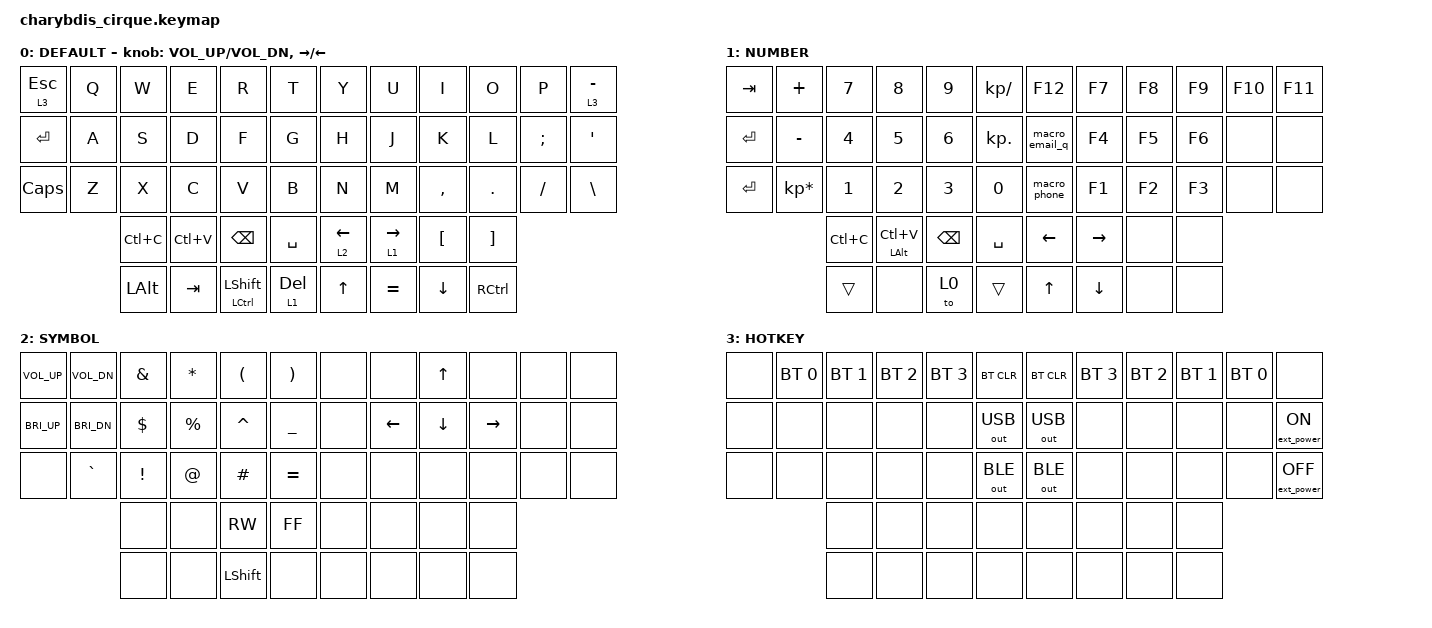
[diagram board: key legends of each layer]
#include <behaviors.dtsi>
#include <dt-bindings/zmk/mouse.h>
#include <dt-bindings/zmk/keys.h>
#include <dt-bindings/zmk/bt.h>
#include <dt-bindings/zmk/outputs.h>
#include <dt-bindings/zmk/ext_power.h>


// mouse move settings
#define MMV_U MOVE_VERT(-650)
#define MMV_D MOVE_VERT(650)
#define MMV_L MOVE_HOR(-650)
#define MMV_R MOVE_HOR(650)

&mmv {    
        time-to-max-speed-ms = <500>;
        acceleration-exponent=<1>;
};

// mouse wheel settings
#define MWH_U SCROLL_VERT(15)
#define MWH_D SCROLL_VERT(-15)
#define MWH_L SCROLL_HOR(-15)
#define MWH_R SCROLL_HOR(15)

&mwh {    
        time-to-max-speed-ms = <2000>;
        acceleration-exponent=<0>;
};

#define DEFAULT 0
#define NUMBER  1
#define SYMBOL  2
#define HOTKEY  3
#define MSE     4

#define AS(keycode) &as LS(keycode) keycode

/{

        behaviors {
        td0: tap_dance_0 {
            compatible = "zmk,behavior-tap-dance";
            label = "TAP_DANCE_0";
            #binding-cells = <0>;
            tapping-term-ms = <200>;
            bindings = <&kp ESC>, <&kp TAB>;
        };
    };  

         behaviors {
       as: auto_shift {
        compatible = "zmk,behavior-hold-tap";
        label = "AUTO_SHIFT";
        #binding-cells = <2>;
        tapping-term-ms = <200>;
        quick-tap-ms = <0>;
        flavor = "tap-preferred";
        bindings = <&kp>, <&kp>;
                };             
modcp: mod_copy {
        compatible = "zmk,behavior-mod-morph";
        label = "MOD_COPY";
        #binding-cells = <0>;
        bindings = <&as LS(C) C>, <&kp C>;
        mods = <(LGUI | RGUI)>;
};
        };


    macros {
        macro_phone: macro_phone {
            // 1351
            label = "MACRO_PHONE";
            compatible = "zmk,behavior-macro";
            #binding-cells = <0>;
            bindings
                = < &kp N1 &kp N3 &kp N5  &kp N1>
                ;
        };
        macro_email_q: macro_email_q {
            // 2894512440@qq.com
            label = "MACRO_EMAIL_QQ";
            compatible = "zmk,behavior-macro";
            #binding-cells = <0>;
            bindings 
                = < &kp N2 &kp N8 &kp N9 &kp N4 &kp N5 &kp  N1 &kp N2 &kp N4 &kp N4 &kp N0 
                    &kp AT &kp Q &kp Q &kp DOT  &kp C &kp O &kp M>
                ;
        };
        macro_email_g: macro_email_g {
            // 135115
            compatible = "zmk,behavior-macro";
            label = "MACRO_EMAIL_GMAIL";
            #binding-cells = <0>;
            bindings
                = < &kp N1 &kp N3 &kp N5  &kp N1 &kp N1 &kp N5 > ;
        };
       
    };
    
    
        
  




    keymap {
       compatible = "zmk,keymap";
       default_layer {
            label = "DEFAULT";
            bindings = <
&lt 3 ESC  &kp Q  &kp W         &kp E      &kp R            &kp T      &kp Y       &kp U        &kp I      &kp O      &kp P     &lt 3 MINUS
&kp ENTER  &kp A  &kp S         &kp D      &kp F            &kp G      &kp H       &kp J        &kp K      &kp L      &kp SEMI  &kp SQT
&kp CAPS   &kp Z  &kp X         &kp C      &kp V            &kp B      &kp N       &kp M        &kp COMMA  &kp DOT    &kp FSLH  &kp BSLH
                  &kp LC(C)     &kp LC(V)  &kp BSPC         &kp SPACE  &lt 2 LEFT  &lt 1 RIGHT  &kp LBKT   &kp RBKT
                  &kp LEFT_ALT  &kp TAB    &mt LCTRL LSHFT  &lt 1 DEL  &kp UP      &kp EQUAL    &kp DOWN   &kp RCTRL
            >;
sensor-bindings = <&inc_dec_kp C_VOL_UP C_VOL_DN &inc_dec_kp RIGHT LEFT>;
                trackball-bindings = <&tmv>;
        };  


          number_layer {
            label = "NUMBER";
            bindings = <
            
   &kp TAB    &kp PLUS         &kp N7     &kp N8          &kp N9    &kp KP_SLASH  &kp F12         &kp F7     &kp F8  &kp F9  &kp F10  &kp F11
&kp ENTER  &kp MINUS        &kp N4     &kp N5          &kp N6    &kp KP_DOT    &macro_email_q  &kp F4     &kp F5  &kp F6  &none    &none
&kp ENTER  &kp KP_MULTIPLY  &kp N1     &kp N2          &kp N3    &kp N0        &macro_phone    &kp F1     &kp F2  &kp F3  &none    &none
                            &kp LC(C)  &mt LALT LC(V)  &kp BSPC  &kp SPACE     &kp LEFT        &kp RIGHT  &none   &none
                            &trans     &none           &to 0     &trans        &kp UP          &kp DOWN   &none   &none
            >;
               trackball-bindings = <&tsl>;    
        };

        symbol_layer {
            label = "SYMBOL";
            bindings = <
&kp C_VOL_UP  &kp C_VOL_DN  &kp AMPS  &kp STAR   &kp LPAR   &kp RPAR   &none  &none     &kp UP    &none      &none  &none
&kp C_BRI_UP  &kp C_BRI_DN  &kp DLLR  &kp PRCNT  &kp CARET  &kp UNDER  &none  &kp LEFT  &kp DOWN  &kp RIGHT  &none  &none
&none         &kp GRAVE     &kp EXCL  &kp AT     &kp HASH   &kp EQUAL  &none  &none     &none     &none      &none  &none
                            &none     &none      &kp C_RW   &kp C_FF   &none  &none     &none     &none
                            &none     &none      &kp LSHFT  &none      &none  &none     &none     &none                                                                                 
         >;
                   trackball-bindings = <&tmv_fine>;
        };


        hotkey_layer {
            label = "HOTKEY";
            bindings = <
&none       &bt BT_SEL 0  &bt BT_SEL 1  &bt BT_SEL 2  &bt BT_SEL 3  &bt BT_CLR    &bt BT_CLR    &bt BT_SEL 3  &bt BT_SEL 2  &bt BT_SEL 1  &bt BT_SEL 0  &none
&none  &none         &none         &none         &none         &out OUT_USB  &out OUT_USB  &none         &none         &none         &none         &ext_power EP_ON
 &none       &none         &none         &none         &none         &out OUT_BLE  &out OUT_BLE  &none         &none         &none         &none         &ext_power EP_OFF
                          &none         &none         &none         &none         &none         &none         &none         &none
                          &none         &none         &none         &none         &none         &none         &none         &none                                                    
            >;
                 trackball-bindings = <&tmv_x>;
        };

        
   };
};
